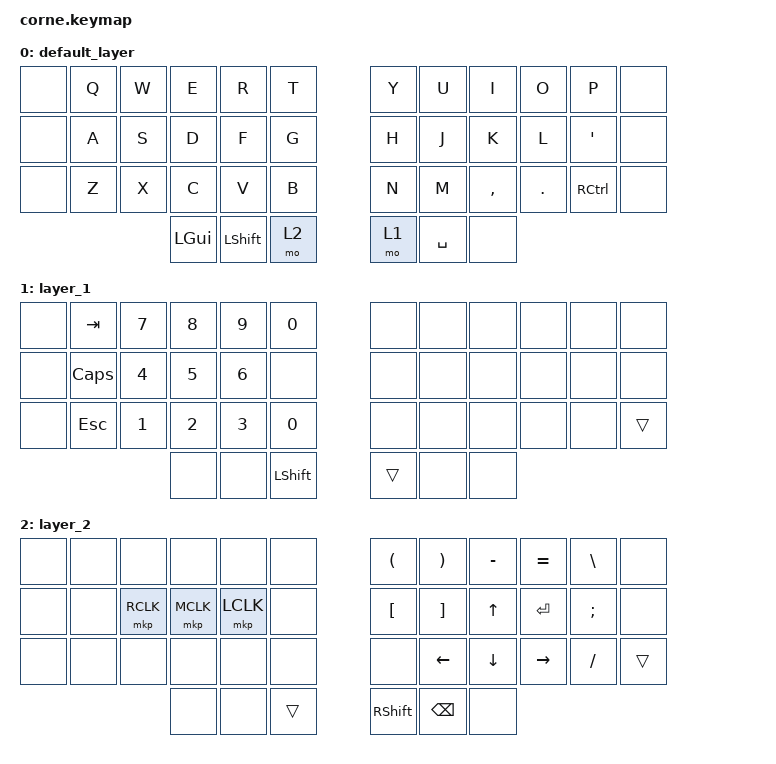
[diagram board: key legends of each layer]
/*
 * Copyright (c) 2020 The ZMK Contributors
 *
 * SPDX-License-Identifier: MIT
 */

#include <behaviors.dtsi>
#include <dt-bindings/zmk/keys.h>
#include <dt-bindings/zmk/mouse.h>

/ {
    combos { compatible = "zmk,combos"; };

    keymap {
        compatible = "zmk,keymap";

        default_layer {
            // -----------------------------------------------------------------------------------------
            // |  TAB |  Q  |  W  |  E  |  R  |  T  |   |  Y  |  U   |  I  |  O  |  P  | BKSP |
            // | CTRL |  A  |  S  |  D  |  F  |  G  |   |  H  |  J   |  K  |  L  |  ;  |  '   |
            // | SHFT |  Z  |  X  |  C  |  V  |  B  |   |  N  |  M   |  ,  |  .  |  /  | ESC  |
            //                    | GUI | LWR | SPC |   | ENT | RSE  | ALT |

            bindings = <
&none  &kp Q  &kp W  &kp E     &kp R           &kp T    &kp Y  &kp U      &kp I      &kp O    &kp P              &none
&none  &kp A  &kp S  &kp D     &kp F           &kp G    &kp H  &kp J      &kp K      &kp L    &kp SINGLE_QUOTE   &none
&none  &kp Z  &kp X  &kp C     &kp V           &kp B    &kp N  &kp M      &kp COMMA  &kp DOT  &kp RIGHT_CONTROL  &none
                     &kp LGUI  &kp LEFT_SHIFT  &mo 2    &mo 1  &kp SPACE  &none
            >;
        };

        layer_1 {
            // -----------------------------------------------------------------------------------------
            // |  TAB |  1  |  2  |  3  |  4  |  5  |   |  6  |  7  |  8  |  9  |  0  | BKSP |
            // | BTCLR| BT1 | BT2 | BT3 | BT4 | BT5 |   | LFT | DWN |  UP | RGT |     |      |
            // | SHFT |     |     |     |     |     |   |     |     |     |     |     |      |
            //                    | GUI |     | SPC |   | ENT |     | ALT |

            bindings = <
&none  &kp TAB       &kp N7        &kp NUMBER_8  &kp N9        &kp NUMBER_0      &none   &none  &none  &none  &none  &none
&none  &kp CAPSLOCK  &kp NUMBER_4  &kp NUMBER_5  &kp NUMBER_6  &none             &none   &none  &none  &none  &none  &none
&none  &kp ESCAPE    &kp NUMBER_1  &kp NUMBER_2  &kp NUMBER_3  &kp NUMBER_0      &none   &none  &none  &none  &none  &trans
                                   &none         &none         &kp LEFT_SHIFT    &trans  &none  &none
            >;
        };

        layer_2 {
            bindings = <
&none  &none  &none      &none      &none      &none     &kp LEFT_PARENTHESIS  &kp RIGHT_PARENTHESIS  &kp MINUS       &kp EQUAL        &kp BACKSLASH  &none
&none  &none  &mkp RCLK  &mkp MCLK  &mkp LCLK  &none     &kp LEFT_BRACKET      &kp RIGHT_BRACKET      &kp UP_ARROW    &kp ENTER        &kp SEMICOLON  &none
&none  &none  &none      &none      &none      &none     &none                 &kp LEFT_ARROW         &kp DOWN_ARROW  &kp RIGHT_ARROW  &kp SLASH      &trans
                         &none      &none      &trans    &kp RIGHT_SHIFT       &kp BACKSPACE          &none
            >;
        };
    };
};
